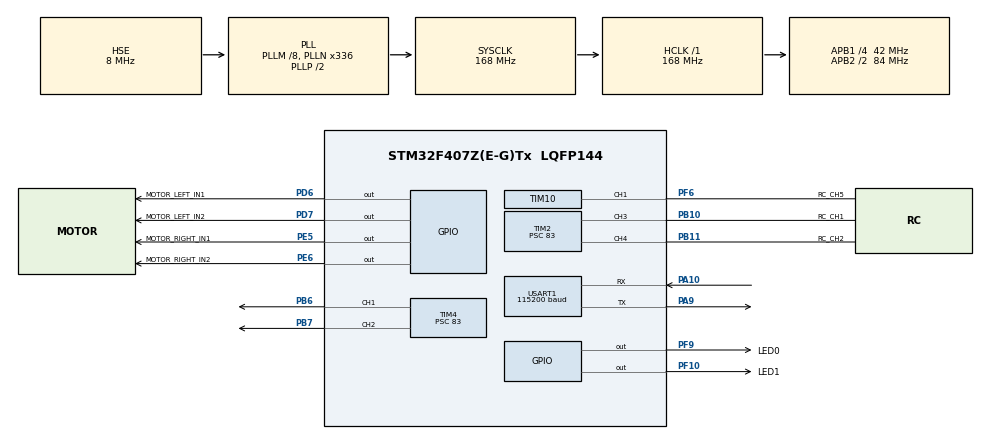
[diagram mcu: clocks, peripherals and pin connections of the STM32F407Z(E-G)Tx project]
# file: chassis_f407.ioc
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Mcu.Family=STM32F4
Mcu.Name=STM32F407Z(E-G)Tx
Mcu.Package=LQFP144
NVIC.PriorityGroup=NVIC_PRIORITYGROUP_4
NVIC.TIM1_UP_TIM10_IRQn=true\:1\:0\:true\:false\:true\:true\:true
NVIC.TIM2_IRQn=true\:1\:0\:true\:false\:true\:true\:true
NVIC.USART1_IRQn=true\:3\:0\:true\:false\:true\:true\:true
PA13.Mode=JTAG_4_pins
PA13.Signal=SYS_JTMS-SWDIO
PA14.Mode=JTAG_4_pins
PA14.Signal=SYS_JTCK-SWCLK
PA15.Mode=JTAG_4_pins
PA15.Signal=SYS_JTDI
PA9.Mode=Asynchronous
PA9.Signal=USART1_TX
PA10.Mode=Asynchronous
PA10.Signal=USART1_RX
PB3.Mode=JTAG_4_pins
PB3.Signal=SYS_JTDO-SWO
PB6.Mode=PWM Generation1 CH1
PB6.Signal=TIM4_CH1
PB7.Mode=PWM Generation2 CH2
PB7.Signal=TIM4_CH2
PB10.GPIO_Label=RC_CH1
PB10.GPIO_PuPd=GPIO_PULLDOWN
PB10.Mode=Input Capture direct mode
PB10.Signal=TIM2_CH3
PB11.GPIO_Label=RC_CH2
PB11.GPIO_PuPd=GPIO_PULLDOWN
PB11.Mode=Input Capture direct mode
PB11.Signal=TIM2_CH4
PC14-OSC32_IN.Mode=LSE-External-Oscillator
PC14-OSC32_IN.Signal=RCC_OSC32_IN
PC15-OSC32_OUT.Mode=LSE-External-Oscillator
PC15-OSC32_OUT.Signal=RCC_OSC32_OUT
PF10.GPIO_Label=LED1
PF10.GPIO_Speed=GPIO_SPEED_FREQ_HIGH
PF10.PinState=GPIO_PIN_SET
PF10.Signal=GPIO_Output
PF6.GPIO_Label=RC_CH5
PF6.GPIO_PuPd=GPIO_PULLDOWN
PF6.Mode=Input Capture direct mode
PF6.Signal=TIM10_CH1
PF9.GPIO_Label=LED0
PF9.GPIO_Speed=GPIO_SPEED_FREQ_HIGH
PF9.PinState=GPIO_PIN_SET
PF9.Signal=GPIO_Output
PH0-OSC_IN.Mode=HSE-External-Oscillator
PH0-OSC_IN.Signal=RCC_OSC_IN
PH1-OSC_OUT.Mode=HSE-External-Oscillator
PH1-OSC_OUT.Signal=RCC_OSC_OUT
PD6.GPIO_Label=MOTOR_LEFT_IN1
PD6.GPIO_Speed=GPIO_SPEED_FREQ_LOW
PD6.PinState=GPIO_PIN_RESET
PD6.Signal=GPIO_Output
PD7.GPIO_Label=MOTOR_LEFT_IN2
PD7.GPIO_Speed=GPIO_SPEED_FREQ_LOW
PD7.PinState=GPIO_PIN_RESET
PD7.Signal=GPIO_Output
PE5.GPIO_Label=MOTOR_RIGHT_IN1
PE5.GPIO_Speed=GPIO_SPEED_FREQ_LOW
PE5.PinState=GPIO_PIN_RESET
PE5.Signal=GPIO_Output
PE6.GPIO_Speed=GPIO_SPEED_FREQ_LOW
PE6.GPIO_Label=MOTOR_RIGHT_IN2
PE6.PinState=GPIO_PIN_RESET
PE6.Signal=GPIO_Output
ProjectManager.HeapSize=0x200
ProjectManager.StackSize=0x400
ProjectManager.TargetToolchain=MDK-ARM V5.27
RCC.48MHZClocksFreq_Value=48000000
RCC.AHBFreq_Value=168000000
RCC.APB1CLKDivider=RCC_HCLK_DIV4
RCC.APB1Freq_Value=42000000
RCC.APB1TimFreq_Value=84000000
RCC.APB2CLKDivider=RCC_HCLK_DIV2
RCC.APB2Freq_Value=84000000
RCC.APB2TimFreq_Value=168000000
RCC.CortexFreq_Value=168000000
RCC.HCLKFreq_Value=168000000
RCC.HSE_VALUE=8000000
RCC.HSI_VALUE=16000000
RCC.PLLM=8
RCC.PLLN=336
RCC.PLLQ=7
RCC.PLLSourceVirtual=RCC_PLLSOURCE_HSE
RCC.SYSCLKFreq_VALUE=168000000
RCC.SYSCLKSource=RCC_SYSCLKSOURCE_PLLCLK
RCC.VCOOutputFreq_Value=336000000
TIM2.Channel3=IC3
TIM2.Channel4=IC4
TIM2.IC3Filter=8
TIM2.IC3Polarity=TIM_INPUTCHANNELPOLARITY_BOTHEDGE
TIM2.IC4Filter=8
TIM2.IC4Polarity=TIM_INPUTCHANNELPOLARITY_BOTHEDGE
TIM2.Period=4294967295
TIM2.Prescaler=83
TIM4.Channel1=PWM Generation1 CH1
TIM4.Channel2=PWM Generation2 CH2
TIM4.Period=99
TIM4.Prescaler=83
TIM10.Channel1=IC1
TIM10.IC1Filter=8
TIM10.IC1Polarity=TIM_INPUTCHANNELPOLARITY_BOTHEDGE
TIM10.Period=65535
TIM10.Prescaler=167
USART1.BaudRate=115200
USART1.HWFlowCtl=UART_HWCONTROL_NONE
USART1.Mode=UART_MODE_TX_RX
USART1.OverSampling=UART_OVERSAMPLING_16
USART1.Parity=UART_PARITY_NONE
USART1.StopBits=UART_STOPBITS_1
USART1.VirtualMode=VM_ASYNC
USART1.WordLength=UART_WORDLENGTH_8B
board=custom

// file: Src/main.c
/* USER CODE BEGIN Header */
/**
  ******************************************************************************
  * @file           : main.c
  * @brief          : Main program body
  ******************************************************************************
  * @attention
  *
  * <h2><center>&copy; Copyright (c) 2022 STMicroelectronics.
  * All rights reserved.</center></h2>
  *
  * This software component is licensed by ST under BSD 3-Clause license,
  * the "License"; You may not use this file except in compliance with the
  * License. You may obtain a copy of the License at:
  *                        opensource.org/licenses/BSD-3-Clause
  *
  ******************************************************************************
  */
/* USER CODE END Header */
#include "main.h"
#include "gpio.h"
#include "tim.h"
#include "usart.h"

#include <string.h>

#include "board_config.h"
#include "chassis_math.h"
#include "diagnostics.h"
#include "motor_driver.h"
#include "motor_profile.h"
#include "rc_input.h"
#include "safety.h"
#include "startup_safety.h"
#include "lcd_display.h"

static SafetyStateMachine safety_machine;
static MotorProfile left_profile;
static MotorProfile right_profile;
static RcInputSnapshot latest_snapshot;
static int16_t latest_left_target;
static int16_t latest_right_target;
static MotorOutput latest_left_output = {MOTOR_DIR_BRAKE, 0U};
static MotorOutput latest_right_output = {MOTOR_DIR_BRAKE, 0U};

void SystemClock_Config(void);

/* USER CODE BEGIN 0 */

static void Control_ResetProfiles(void)
{
  (void)memset(&left_profile, 0, sizeof(left_profile));
  (void)memset(&right_profile, 0, sizeof(right_profile));
}

static int16_t Control_ScaleTarget(int16_t command, uint8_t invert)
{
  int32_t target = ((int32_t)command * (int32_t)MOTOR_MAX_OUTPUT_PERMILLE) / 1000;

  if (target > (int32_t)MOTOR_MAX_OUTPUT_PERMILLE) {
    target = (int32_t)MOTOR_MAX_OUTPUT_PERMILLE;
  } else if (target < -(int32_t)MOTOR_MAX_OUTPUT_PERMILLE) {
    target = -(int32_t)MOTOR_MAX_OUTPUT_PERMILLE;
  }
  if (invert != 0U) {
    target = -target;
  }
  return (int16_t)target;
}

static void Control_SetLed(SafetyState state)
{
  GPIO_PinState red = GPIO_PIN_RESET;
  GPIO_PinState green = GPIO_PIN_SET;

  /* PF9/LED0 is red and PF10/LED1 is green; both are active-low. */
  if (state == SAFETY_ARMED) {
    red = GPIO_PIN_SET;
    green = GPIO_PIN_RESET;
  }
  HAL_GPIO_WritePin(LED0_GPIO_Port, LED0_Pin, red);
  HAL_GPIO_WritePin(LED1_GPIO_Port, LED1_Pin, green);
}

static void Control_Task(uint32_t now_ms)
{
  RcInputSnapshot snapshot;
  SafetyInputs inputs;
  ChassisCommand command;

  RcInput_GetSnapshot(&snapshot);
  inputs.ch1_fresh = (uint8_t)((snapshot.ch1_valid != 0U) &&
                               (snapshot.ch1_fresh != 0U));
  inputs.ch2_fresh = (uint8_t)((snapshot.ch2_valid != 0U) &&
                               (snapshot.ch2_fresh != 0U));
  inputs.ch5_fresh = (uint8_t)((snapshot.ch5_valid != 0U) &&
                               (snapshot.ch5_fresh != 0U));
  inputs.ch1_us = snapshot.ch1_us;
  inputs.ch2_us = snapshot.ch2_us;
  inputs.ch5_us = snapshot.ch5_us;
  Safety_Update(&safety_machine, &inputs, now_ms);

  latest_snapshot = snapshot;
  if (Safety_IsDriveAllowed(&safety_machine) == 0U) {
    MotorDriver_EmergencyBrake();
    Control_ResetProfiles();
    latest_left_target = 0;
    latest_right_target = 0;
    latest_left_output.direction = MOTOR_DIR_BRAKE;
    latest_left_output.pwm_permille = 0U;
    latest_right_output.direction = MOTOR_DIR_BRAKE;
    latest_right_output.pwm_permille = 0U;
    Control_SetLed(safety_machine.state);
    return;
  }

  command = ChassisMath_Mix(
      ChassisMath_PulseToCommand(snapshot.ch2_us, RC_CENTER_US,
                                 RC_DEADBAND_US, RC_THROTTLE_INVERT),
      ChassisMath_PulseToCommand(snapshot.ch1_us, RC_CENTER_US,
                                 RC_DEADBAND_US, RC_STEERING_INVERT));
  latest_left_target = Control_ScaleTarget(command.left, MOTOR_LEFT_INVERT);
  latest_right_target = Control_ScaleTarget(command.right, MOTOR_RIGHT_INVERT);
  latest_left_output = MotorProfile_Update(&left_profile, latest_left_target,
                                           now_ms, 0U);
  latest_right_output = MotorProfile_Update(&right_profile, latest_right_target,
                                            now_ms, 0U);
  MotorDriver_ApplyLeft(latest_left_output);
  MotorDriver_ApplyRight(latest_right_output);
  Control_SetLed(safety_machine.state);
}

static void Diagnostics_Task(uint32_t now_ms)
{
  DiagnosticsFrame frame;

  frame.time_ms = now_ms;
  frame.rc = latest_snapshot;
  frame.safety_state = safety_machine.state;
  frame.left_target_permille = latest_left_target;
  frame.right_target_permille = latest_right_target;
  frame.left_output = latest_left_output;
  frame.right_output = latest_right_output;
  (void)Diagnostics_TryTransmit(&frame);
  LCD_Display_Update(&frame);
}

static void Error_FatalLoop(void)
{
  while (1)
  {
  }
}

/* USER CODE END 0 */

int main(void)
{
  uint32_t last_control_ms;
  uint32_t last_diagnostics_ms;

  HAL_Init();
  SystemClock_Config();
  MX_GPIO_Init();
  MX_USART1_UART_Init();
  MX_TIM2_Init();
#if !RC_BENCH_TEST
  MX_TIM4_Init();
#endif
  MX_TIM10_Init();

  MotorDriver_Init();
  MotorDriver_EmergencyBrake();
#if !RC_BENCH_TEST
  __HAL_TIM_SET_COMPARE(&htim4, TIM_CHANNEL_1, 0U);
  __HAL_TIM_SET_COMPARE(&htim4, TIM_CHANNEL_2, 0U);
  if (HAL_TIM_PWM_Start(&htim4, TIM_CHANNEL_1) != HAL_OK) {
    MotorDriver_EmergencyBrake();
    Error_Handler();
  }
  if (HAL_TIM_PWM_Start(&htim4, TIM_CHANNEL_2) != HAL_OK) {
    MotorDriver_EmergencyBrake();
    Error_Handler();
  }
#endif

  LCD_Display_Init();

  RcInput_Init();
  Safety_Init(&safety_machine);
  Control_ResetProfiles();
  if (RcInput_Start() != HAL_OK) {
    MotorDriver_EmergencyBrake();
    Error_Handler();
  }

  last_control_ms = HAL_GetTick();
  Control_Task(last_control_ms);
  last_diagnostics_ms = last_control_ms;

  while (1)
  {
    uint32_t now_ms = HAL_GetTick();

    if ((uint32_t)(now_ms - last_control_ms) >= 10U) {
      last_control_ms = now_ms;
      Control_Task(now_ms);
    }
    if ((uint32_t)(now_ms - last_diagnostics_ms) >= 200U) {
      last_diagnostics_ms = now_ms;
      Diagnostics_Task(now_ms);
    }
  }
}

void SystemClock_Config(void)
{
  RCC_OscInitTypeDef RCC_OscInitStruct = {0};
  RCC_ClkInitTypeDef RCC_ClkInitStruct = {0};

  /** Configure the main internal regulator output voltage
  */
  __HAL_RCC_PWR_CLK_ENABLE();
  __HAL_PWR_VOLTAGESCALING_CONFIG(PWR_REGULATOR_VOLTAGE_SCALE1);
  /** Initializes the RCC Oscillators according to the specified parameters
  * in the RCC_OscInitTypeDef structure.
  */
  RCC_OscInitStruct.OscillatorType = RCC_OSCILLATORTYPE_HSE;
  RCC_OscInitStruct.HSEState = RCC_HSE_ON;
  RCC_OscInitStruct.PLL.PLLState = RCC_PLL_ON;
  RCC_OscInitStruct.PLL.PLLSource = RCC_PLLSOURCE_HSE;
  RCC_OscInitStruct.PLL.PLLM = 8;
  RCC_OscInitStruct.PLL.PLLN = 336;
  RCC_OscInitStruct.PLL.PLLP = RCC_PLLP_DIV2;
  RCC_OscInitStruct.PLL.PLLQ = 7;
  if (HAL_RCC_OscConfig(&RCC_OscInitStruct) != HAL_OK)
  {
    Error_Handler();
  }
  /** Initializes the CPU, AHB and APB buses clocks
  */
  RCC_ClkInitStruct.ClockType = RCC_CLOCKTYPE_HCLK|RCC_CLOCKTYPE_SYSCLK
                              |RCC_CLOCKTYPE_PCLK1|RCC_CLOCKTYPE_PCLK2;
  RCC_ClkInitStruct.SYSCLKSource = RCC_SYSCLKSOURCE_PLLCLK;
  RCC_ClkInitStruct.AHBCLKDivider = RCC_SYSCLK_DIV1;
  RCC_ClkInitStruct.APB1CLKDivider = RCC_HCLK_DIV4;
  RCC_ClkInitStruct.APB2CLKDivider = RCC_HCLK_DIV2;

  if (HAL_RCC_ClockConfig(&RCC_ClkInitStruct, FLASH_LATENCY_5) != HAL_OK)
  {
    Error_Handler();
  }
}

void Error_Handler(void)
{
  StartupSafety_EnterFatal(Error_FatalLoop);
  while (1)
  {
  }
}

/************************ (C) COPYRIGHT STMicroelectronics *****END OF FILE****/
